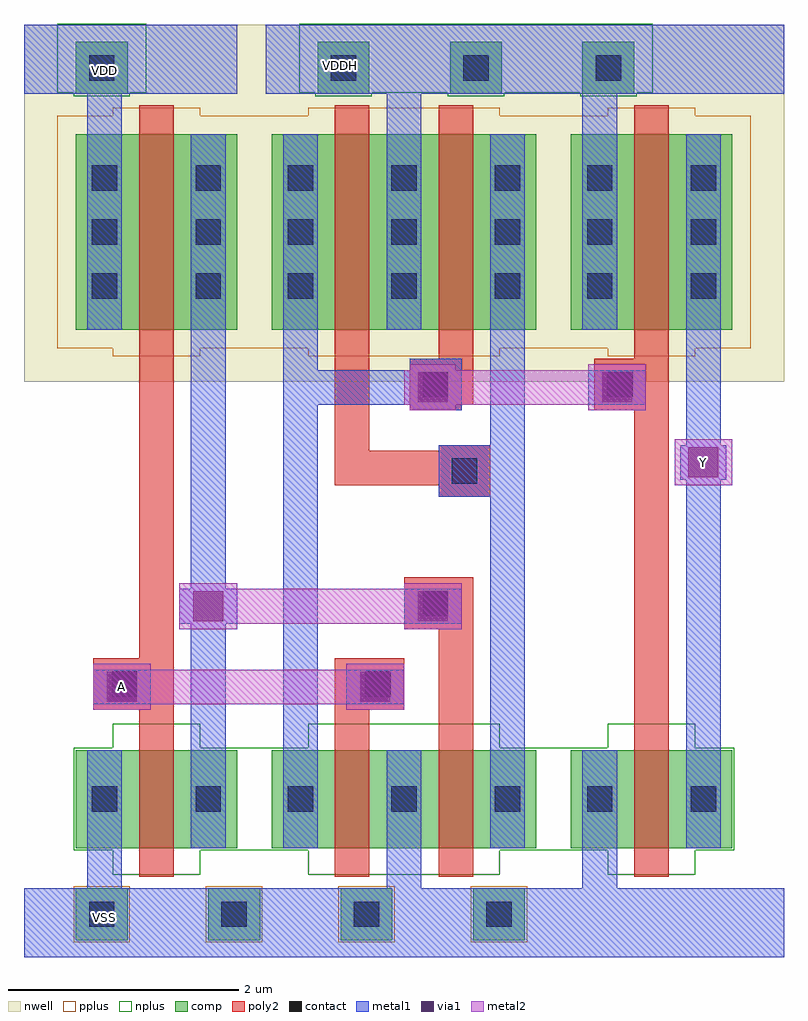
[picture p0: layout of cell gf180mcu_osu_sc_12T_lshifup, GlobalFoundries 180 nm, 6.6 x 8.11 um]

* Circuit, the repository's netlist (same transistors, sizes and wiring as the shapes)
* Copyright 2022 Google LLC
*
* Licensed under the Apache License, Version 2.0 (the "License");
* you may not use this file except in compliance with the License.
* You may obtain a copy of the License at
*
*      http://www.apache.org/licenses/LICENSE-2.0
*
* Unless required by applicable law or agreed to in writing, software
* distributed under the License is distributed on an "AS IS" BASIS,
* WITHOUT WARRANTIES OR CONDITIONS OF ANY KIND, either express or implied.
* See the License for the specific language governing permissions and
* limitations under the License.

.option scale=0.05u

.subckt gf180mcu_osu_sc_12T_lshifup A Y
X0 VSS A a_43_19 VSS nmos_3p3 w=17 l=6
X1 Y a_43_19 VDDH VDDH pmos_3p3 w=34 l=6
X2 VDDH a_54_82 a_43_19 VDDH pmos_3p3 w=34 l=6
X3 a_26_19 A VDDH VDDH pmos_3p3 w=34 l=6
X4 a_54_82 a_43_19 VDDH VDDH pmos_3p3 w=34 l=6
X5 a_54_82 a_26_19 VSS VSS nmos_3p3 w=17 l=6
X6 Y a_43_19 VSS VSS nmos_3p3 w=17 l=6
X7 a_26_19 A VSS VSS nmos_3p3 w=17 l=6
.ends

** hspice subcircuit dictionary

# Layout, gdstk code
import gdstk
lib = gdstk.Library(unit=1e-6, precision=1e-09)
def R(c, l, rs):  # rectangles x0, y0, x1, y1
    for r in rs: c.add(gdstk.rectangle(r[:2], r[2:], *l))
def A(c, l, x, y, w, h, nx, ny, dx, dy):  # array of equal rectangles
    R(c, l, [(x+i*dx, y+j*dy, x+i*dx+w, y+j*dy+h) for i in range(nx) for j in range(ny)])
nwell = (21, 0)
comp = (22, 0)
poly2 = (30, 0)
pplus = (31, 0)
nplus = (32, 0)
contact = (33, 0)
metal1 = (34, 0)
via1 = (35, 0)
metal2 = (36, 0)

gf180mcu_osu_sc_12t_lshi = lib.new_cell('gf180mcu_osu_sc_12T_lshifup')
R(gf180mcu_osu_sc_12t_lshi, nwell, [(0,5,6.6,8.1)])
A(gf180mcu_osu_sc_12t_lshi, comp, 0.45, 0.15, 0.45, 0.45, 4, 1, 1.15, 0)
A(gf180mcu_osu_sc_12t_lshi, comp, 2.55, 7.5, 0.45, 0.45, 3, 1, 1.15, 0)
R(gf180mcu_osu_sc_12t_lshi, comp, [(0.45,0.95,1.85,1.8), (2.15,0.95,4.45,1.8), (4.75,0.95,6.15,1.8), (0.45,5.45,1.85,7.15), (2.15,5.45,4.45,7.15), (4.75,5.45,6.15,7.15), (0.45,7.5,0.9,7.95)])
R(gf180mcu_osu_sc_12t_lshi, poly2, [(1,0.7,1.3,2.15), (2.7,0.7,3,2.15), (3.6,0.7,3.9,2.85), (5.3,0.7,5.6,4.75), (0.6,2.15,1.3,2.6), (2.7,2.15,3.3,2.6), (1,2.6,1.3,7.4), (3.3,2.85,3.9,3.3), (3.6,4,4.05,4.1), (2.7,4.1,4.05,4.4), (2.7,4.4,3,7.4), (3.6,4.4,4.05,4.45), (3.35,4.75,3.8,4.8), (4.95,4.75,5.6,5.2), (3.35,4.8,3.9,5.2), (3.6,5.2,3.9,7.4), (5.3,5.2,5.6,7.4)])
A(gf180mcu_osu_sc_12t_lshi, pplus, 0.43, 0.13, 0.49, 0.49, 4, 1, 1.15, 0)
R(gf180mcu_osu_sc_12t_lshi, pplus, [(0.77,5.22,1.53,5.29), (2.47,5.22,4.13,5.29), (5.07,5.22,5.83,5.29), (0.29,5.29,6.31,7.31), (0.77,7.31,1.53,7.38), (2.47,7.31,4.13,7.38), (5.07,7.31,5.83,7.38)])
A(gf180mcu_osu_sc_12t_lshi, nplus, 2.53, 7.48, 0.49, 0.03, 3, 1, 1.15, 0)
R(gf180mcu_osu_sc_12t_lshi, nplus, [(0.77,0.72,1.53,0.93), (2.47,0.72,4.13,0.93), (5.07,0.72,5.83,0.93), (0.43,0.93,6.17,1.82), (0.77,1.82,1.53,2.03), (2.47,1.82,4.13,2.03), (5.07,1.82,5.83,2.03), (0.43,7.48,0.92,7.51), (0.29,7.51,1.06,8.11), (2.39,7.51,5.46,8.11)])
A(gf180mcu_osu_sc_12t_lshi, contact, 0.565, 0.265, 0.22, 0.22, 4, 1, 1.15, 0)
A(gf180mcu_osu_sc_12t_lshi, contact, 2.29, 1.265, 0.22, 0.22, 3, 2, 0.9, 4.455)
A(gf180mcu_osu_sc_12t_lshi, contact, 0.59, 5.72, 0.22, 0.22, 1, 3, 0, 0.47)
A(gf180mcu_osu_sc_12t_lshi, contact, 1.49, 5.72, 0.22, 0.22, 1, 3, 0, 0.47)
A(gf180mcu_osu_sc_12t_lshi, contact, 4.89, 5.72, 0.22, 0.22, 1, 3, 0, 0.47)
A(gf180mcu_osu_sc_12t_lshi, contact, 5.79, 5.72, 0.22, 0.22, 1, 3, 0, 0.47)
A(gf180mcu_osu_sc_12t_lshi, contact, 2.29, 6.19, 0.22, 0.22, 3, 2, 0.9, 0.47)
A(gf180mcu_osu_sc_12t_lshi, contact, 2.665, 7.615, 0.22, 0.22, 3, 1, 1.15, 0)
R(gf180mcu_osu_sc_12t_lshi, contact, [(0.59,1.265,0.81,1.485), (1.49,1.265,1.71,1.485), (4.89,1.265,5.11,1.485), (5.79,1.265,6.01,1.485), (0.765,2.265,0.985,2.485), (2.965,2.265,3.185,2.485), (3.465,2.965,3.685,3.185), (3.715,4.115,3.935,4.335), (3.465,4.865,3.685,5.085), (5.065,4.865,5.285,5.085), (0.565,7.615,0.785,7.835)])
R(gf180mcu_osu_sc_12t_lshi, metal1, [(0,0,6.6,0.6), (0.55,0.6,0.85,1.8), (3.15,0.6,3.45,1.8), (4.85,0.6,5.15,1.8), (1.45,0.95,1.75,2.9), (2.25,0.95,2.55,4.8), (4.05,0.95,4.35,4), (5.75,0.95,6.05,4.15), (0.6,2.2,1.1,2.5), (2.8,2.2,3.3,2.5), (1.35,2.9,1.85,3.2), (3.3,2.9,3.8,3.2), (1.45,3.2,1.75,7.15), (3.6,4,4.35,4.45), (5.7,4.15,6.1,4.45), (4.05,4.45,4.35,7.15), (5.75,4.45,6.05,7.15), (3.35,4.75,3.8,4.8), (2.25,4.8,3.8,5.1), (4.9,4.8,5.4,5.1), (2.25,5.1,2.55,7.15), (3.35,5.1,3.8,5.2), (0.55,5.45,0.85,7.5), (3.15,5.45,3.45,7.5), (4.85,5.45,5.15,7.5), (0,7.5,1.85,8.1), (2.1,7.5,6.6,8.1)])
R(gf180mcu_osu_sc_12t_lshi, via1, [(0.72,2.22,0.98,2.48), (2.92,2.22,3.18,2.48), (1.47,2.92,1.73,3.18), (3.42,2.92,3.68,3.18), (5.77,4.17,6.03,4.43), (3.42,4.82,3.68,5.08), (5.02,4.82,5.28,5.08)])
R(gf180mcu_osu_sc_12t_lshi, metal2, [(0.6,2.15,1.1,2.2), (2.8,2.15,3.3,2.2), (0.6,2.2,3.3,2.5), (0.6,2.5,1.1,2.55), (2.8,2.5,3.3,2.55), (1.35,2.85,1.85,2.9), (3.3,2.85,3.8,2.9), (1.35,2.9,3.8,3.2), (1.35,3.2,1.85,3.25), (3.3,3.2,3.8,3.25), (5.65,4.1,6.15,4.5), (3.35,4.75,3.75,4.8), (4.9,4.75,5.4,4.8), (3.3,4.8,5.4,5.1), (3.35,5.1,3.75,5.15), (4.9,5.1,5.4,5.15)])
gf180mcu_osu_sc_12t_lshi.add(gdstk.Label('VDD', (0.7,7.7), layer=34, texttype=0))
gf180mcu_osu_sc_12t_lshi.add(gdstk.Label('VSS', (0.7,0.35), layer=34, texttype=0))
gf180mcu_osu_sc_12t_lshi.add(gdstk.Label('VDDH', (2.75,7.75), layer=34, texttype=0))
gf180mcu_osu_sc_12t_lshi.add(gdstk.Label('A', (0.85,2.35), layer=36, texttype=10))
gf180mcu_osu_sc_12t_lshi.add(gdstk.Label('Y', (5.9,4.3), layer=36, texttype=10))

lib.write_gds('gf180mcu_osu_sc_12T_lshifup.gds')
